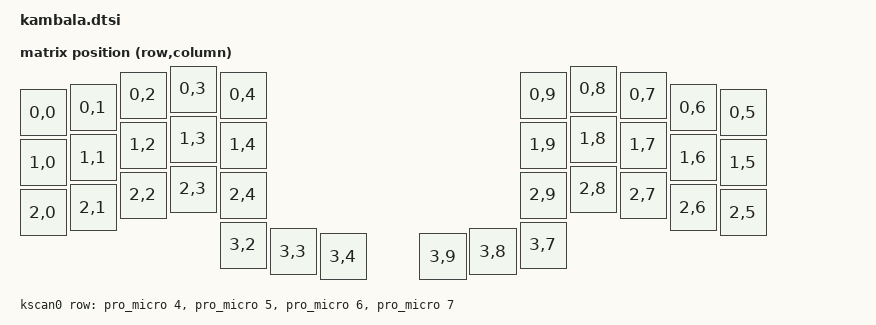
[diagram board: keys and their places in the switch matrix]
/*
 * Copyright (c) 2020 Pete Johanson
 *
 * SPDX-License-Identifier: MIT
 */

#include <dt-bindings/zmk/matrix_transform.h>
#include <physical_layouts.dtsi>

/* LED0 (P0.10) and LED1 (P0.09) use the nRF52840 NFC pins. */
&uicr {
    nfct-pins-as-gpios;
};

/ {
    chosen {
        zmk,physical-layout = &default_layout;
        zmk,kscan = &kscan0;
        // zmk,matrix-transform = &default_transform;
        zmk,backlight = &backlight;
    };

    default_transform: keymap_transform_0 {
        compatible = "zmk,matrix-transform";
        columns = <10>;
        rows = <4>;
        map = <
RC(0,0) RC(0,1) RC(0,2) RC(0,3) RC(0,4)  RC(0,9) RC(0,8) RC(0,7) RC(0,6) RC(0,5)
RC(1,0) RC(1,1) RC(1,2) RC(1,3) RC(1,4)  RC(1,9) RC(1,8) RC(1,7) RC(1,6) RC(1,5)
RC(2,0) RC(2,1) RC(2,2) RC(2,3) RC(2,4)  RC(2,9) RC(2,8) RC(2,7) RC(2,6) RC(2,5)
                RC(3,2) RC(3,3) RC(3,4)  RC(3,9) RC(3,8) RC(3,7)
        >;
    };


    kscan0: kscan {
        compatible = "zmk,kscan-gpio-matrix";
        diode-direction = "col2row";
        row-gpios
            = <&pro_micro 4 (GPIO_ACTIVE_HIGH | GPIO_PULL_DOWN)>
            , <&pro_micro 5 (GPIO_ACTIVE_HIGH | GPIO_PULL_DOWN)>
            , <&pro_micro 6 (GPIO_ACTIVE_HIGH | GPIO_PULL_DOWN)>
            , <&pro_micro 7 (GPIO_ACTIVE_HIGH | GPIO_PULL_DOWN)>
            ;
           wakeup-source;
    };

        default_layout: default_layout {
        compatible = "zmk,physical-layout";
        display-name = "kambala";

        kscan = <&kscan0>;
        transform = <&default_transform>;

        keys  //                     w   h    x    y     rot    rx    ry
            = <&key_physical_attrs 100 100    0   47       0     0     0>
            , <&key_physical_attrs 100 100  100   37       0     0     0>
            , <&key_physical_attrs 100 100  200   12       0     0     0>
            , <&key_physical_attrs 100 100  300    0       0     0     0>
            , <&key_physical_attrs 100 100  400   12       0     0     0>
            , <&key_physical_attrs 100 100 1000   12       0     0     0>
            , <&key_physical_attrs 100 100 1100    0       0     0     0>
            , <&key_physical_attrs 100 100 1200   12       0     0     0>
            , <&key_physical_attrs 100 100 1300   37       0     0     0>
            , <&key_physical_attrs 100 100 1400   47       0     0     0>
            , <&key_physical_attrs 100 100    0  147       0     0     0>
            , <&key_physical_attrs 100 100  100  137       0     0     0>
            , <&key_physical_attrs 100 100  200  112       0     0     0>
            , <&key_physical_attrs 100 100  300  100       0     0     0>
            , <&key_physical_attrs 100 100  400  112       0     0     0>
            , <&key_physical_attrs 100 100 1000  112       0     0     0>
            , <&key_physical_attrs 100 100 1100  100       0     0     0>
            , <&key_physical_attrs 100 100 1200  112       0     0     0>
            , <&key_physical_attrs 100 100 1300  137       0     0     0>
            , <&key_physical_attrs 100 100 1400  147       0     0     0>
            , <&key_physical_attrs 100 100    0  247       0     0     0>
            , <&key_physical_attrs 100 100  100  237       0     0     0>
            , <&key_physical_attrs 100 100  200  212       0     0     0>
            , <&key_physical_attrs 100 100  300  200       0     0     0>
            , <&key_physical_attrs 100 100  400  212       0     0     0>
            , <&key_physical_attrs 100 100 1000  212       0     0     0>
            , <&key_physical_attrs 100 100 1100  200       0     0     0>
            , <&key_physical_attrs 100 100 1200  212       0     0     0>
            , <&key_physical_attrs 100 100 1300  237       0     0     0>
            , <&key_physical_attrs 100 100 1400  247       0     0     0>
            , <&key_physical_attrs 100 100  400  312       0     0     0>
            , <&key_physical_attrs 100 100  500  325       0     0     0>
            , <&key_physical_attrs 100 100  600  335       0     0     0>
            , <&key_physical_attrs 100 100  800  335       0     0     0>
            , <&key_physical_attrs 100 100  900  325       0     0     0>
            , <&key_physical_attrs 100 100 1000  312       0     0     0>
            ;
    };

};

